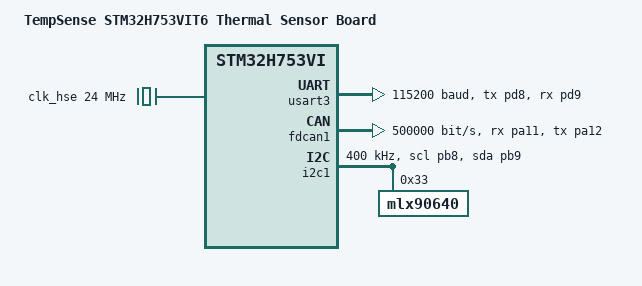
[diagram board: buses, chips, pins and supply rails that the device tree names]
/*
 * TempSense STM32H753VIT6 Thermal Sensor Board
 */

/dts-v1/;

#include <st/h7/stm32h753Xi.dtsi>
#include <st/h7/stm32h753zitx-pinctrl.dtsi>
#include <zephyr/dt-bindings/i2c/i2c.h>

 / {
	model = "TempSense STM32H753VIT6 Thermal Sensor Board";
	compatible = "st,stm32h753vi";

	chosen {
		zephyr,console = &usart3;
		zephyr,shell-uart = &usart3;

		zephyr,sram  = &sram0;
		zephyr,flash = &flash0;
		zephyr,dtcm  = &dtcm;

		zephyr,canbus = &fdcan1;
	};

	aliases {
		i2c0 = &i2c1;
		can0 = &fdcan1;
	};
};

/*
 * Clocks
 * - Your board has a 24 MHz crystal on PH0/PH1, so use HSE=24MHz (no bypass).
 * - Keep the same derived frequencies as Nucleo: SYSCLK 480 MHz, FDCAN kernel 80 MHz.
 */
&clk_hse {
	clock-frequency = <DT_FREQ_M(24)>;
	status = "okay";
};

&pll {
	/* 24MHz / 6 = 4MHz input, 4MHz * 240 = 960MHz VCO, /2 = 480MHz */
	div-m = <6>;
	mul-n = <240>;
	div-p = <2>;
	div-q = <2>;
	div-r = <2>;
	clocks = <&clk_hse>;
	status = "okay";
};

&pll2 {
	/* 24MHz / 12 = 2MHz input, 2MHz * 120 = 240MHz VCO, /3 = 80MHz for FDCAN */
	div-m = <12>;
	mul-n = <120>;
	div-p = <2>;
	div-q = <3>; /* 80MHz */
	div-r = <2>;
	clocks = <&clk_hse>;
	status = "okay";
};

&rcc {
	clocks = <&pll>;
	clock-frequency = <DT_FREQ_M(480)>;
	d1cpre = <1>;
	hpre = <2>;
	d1ppre = <2>;
	d2ppre1 = <2>;
	d2ppre2 = <2>;
	d3ppre = <2>;
};

/* Enable GPIO ports you use */
&gpioa { status = "okay"; };
&gpiob { status = "okay"; };
&gpioc { status = "okay"; };
&gpiod { status = "okay"; };
&gpioe { status = "okay"; };

/*
 * USART3 console (PD8/PD9)
 */
&usart3 {
	pinctrl-0 = <&usart3_tx_pd8 &usart3_rx_pd9>;
	pinctrl-names = "default";
	current-speed = <115200>;
	status = "okay";
};

/*
 * CAN: transceiver RXD/TXD are on PA11/PA12 per schematic.
 * NOTE: PA11/PA12 are also commonly used for USB FS (DM/DP), so don’t enable USB FS on this pinout.
 */
&fdcan1 {
	clocks = <&rcc STM32_CLOCK_BUS_APB1_2 0x00000100>,
		 <&rcc STM32_SRC_PLL2_Q FDCAN_SEL(2)>;

	pinctrl-0 = <&fdcan1_rx_pa11 &fdcan1_tx_pa12>;
	pinctrl-names = "default";

	/* Optional but usually nice to have in DT */
	bus-speed = <500000>;

	status = "okay";
};

/*
 * I2C1: PB8/PB9 to MLX90640
 */
&i2c1 {
	pinctrl-0 = <&i2c1_scl_pb8 &i2c1_sda_pb9>;
	pinctrl-names = "default";
	clock-frequency = <I2C_BITRATE_FAST>;
	status = "okay";

	/*
	 * MLX90640 default 7-bit I2C address is 0x33 in most setups. :contentReference[oaicite:1]{index=1}
	 * Compatible string depends on the binding/driver you’re using; many Zephyr examples use "mlx90640". :contentReference[oaicite:2]{index=2}
	 */
	mlx90640: mlx90640@33 {
		compatible = "mlx90640";
		reg = <0x33>;
		label = "MLX90640";
	};
}; 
